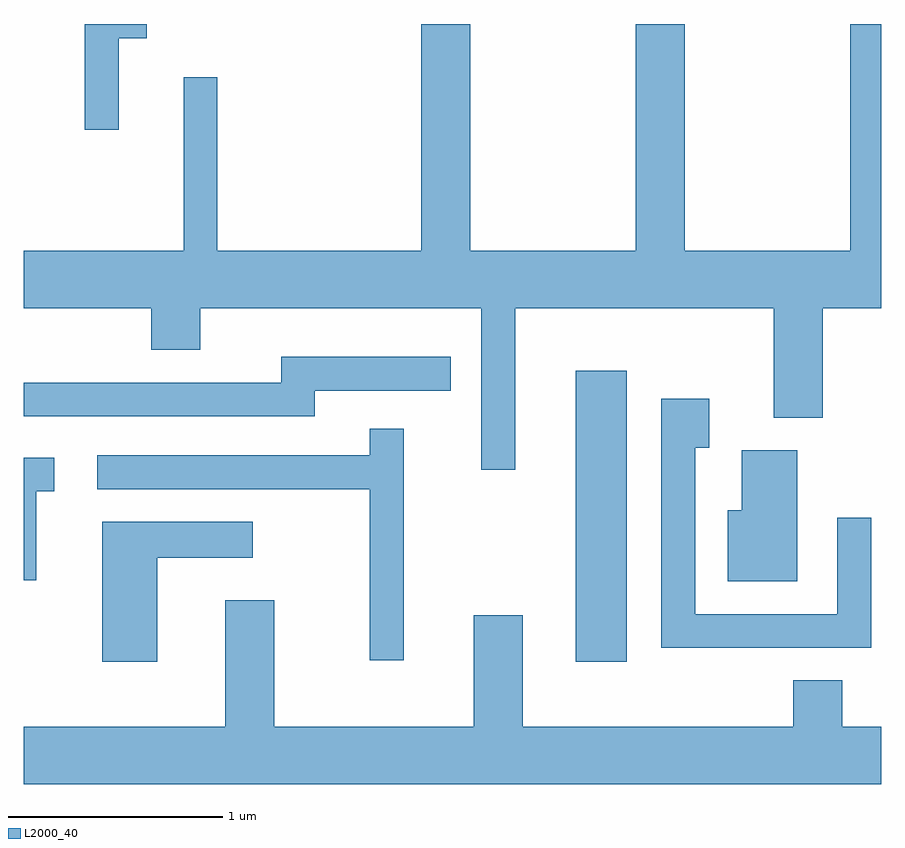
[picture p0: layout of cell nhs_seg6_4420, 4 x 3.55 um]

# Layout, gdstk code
import gdstk
lib = gdstk.Library(unit=1e-6, precision=1e-09)
def R(c, l, rs):  # rectangles x0, y0, x1, y1
    for r in rs: c.add(gdstk.rectangle(r[:2], r[2:], *l))
def P(c, l, *ps):  # polygons
    for p in ps: c.add(gdstk.Polygon(p, *l))
L2000_40 = (2000, 40)

nhs_seg6_4420 = lib.new_cell('nhs_seg6_4420')
R(nhs_seg6_4420, L2000_40, [(322.186,1637.186,322.424,1638.544)])
P(nhs_seg6_4420, L2000_40, [(320.054,1640.096),(320.184,1640.096),(320.184,1640.162),(319.896,1640.162),(319.896,1639.668),(320.054,1639.668)],
  [(321.904,1638.836),(323.111,1638.836),(323.111,1638.326),(323.339,1638.326),(323.339,1638.836),(323.611,1638.836),(323.611,1640.162),(323.466,1640.162),(323.466,1639.104),(322.694,1639.104),(322.694,1640.162),(322.466,1640.162),(322.466,1639.104),(321.694,1639.104),(321.694,1640.162),(321.466,1640.162),(321.466,1639.104),(320.514,1639.104),(320.514,1639.913),(320.356,1639.913),(320.356,1639.104),(319.611,1639.104),(319.611,1638.836),(320.206,1638.836),(320.206,1638.641),(320.434,1638.641),(320.434,1638.836),(321.746,1638.836),(321.746,1638.083),(321.904,1638.083)],
  [(320.969,1638.451),(321.603,1638.451),(321.603,1638.609),(320.811,1638.609),(320.811,1638.489),(319.611,1638.489),(319.611,1638.331),(320.969,1638.331)],
  [(323.564,1637.858),(323.406,1637.858),(323.406,1637.409),(322.744,1637.409),(322.744,1638.186),(322.809,1638.186),(322.809,1638.414),(322.586,1638.414),(322.586,1637.251),(323.564,1637.251)],
  [(321.384,1638.273),(321.226,1638.273),(321.226,1638.149),(319.953,1638.149),(319.953,1637.991),(321.226,1637.991),(321.226,1637.193),(321.384,1637.193)],
  [(323.219,1638.174),(322.961,1638.174),(322.961,1637.894),(322.896,1637.894),(322.896,1637.561),(323.219,1637.561)],
  [(319.669,1637.981),(319.753,1637.981),(319.753,1638.139),(319.611,1638.139),(319.611,1637.566),(319.669,1637.566)],
  [(320.234,1637.671),(320.678,1637.671),(320.678,1637.839),(319.976,1637.839),(319.976,1637.186),(320.234,1637.186)],
  [(321.711,1637.404),(321.711,1636.884),(320.779,1636.884),(320.779,1637.474),(320.551,1637.474),(320.551,1636.884),(319.611,1636.884),(319.611,1636.616),(323.611,1636.616),(323.611,1636.884),(323.429,1636.884),(323.429,1637.099),(323.201,1637.099),(323.201,1636.884),(321.939,1636.884),(321.939,1637.404)])

lib.write_gds('nhs_seg6_4420.gds')
